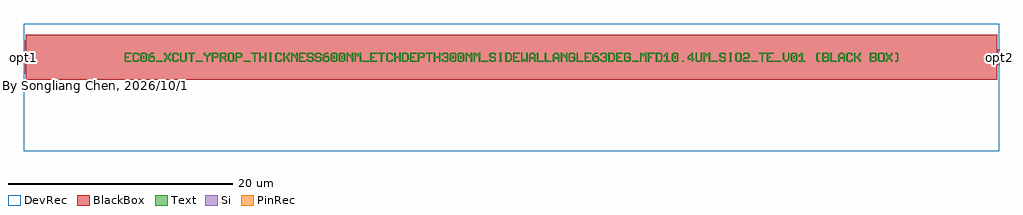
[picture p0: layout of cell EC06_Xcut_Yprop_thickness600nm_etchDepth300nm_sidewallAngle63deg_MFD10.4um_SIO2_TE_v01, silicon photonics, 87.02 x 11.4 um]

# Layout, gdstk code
import gdstk
lib = gdstk.Library(unit=1e-6, precision=1e-10)
def R(c, l, rs):  # rectangles x0, y0, x1, y1
    for r in rs: c.add(gdstk.rectangle(r[:2], r[2:], *l))
def A(c, l, x, y, w, h, nx, ny, dx, dy):  # array of equal rectangles
    R(c, l, [(x+i*dx, y+j*dy, x+i*dx+w, y+j*dy+h) for i in range(nx) for j in range(ny)])
def P(c, l, *ps):  # polygons
    for p in ps: c.add(gdstk.Polygon(p, *l))
Si = (1, 0)
PinRec = (1, 10)
Text = (10, 0)
DevRec = (68, 0)
BlackBox = (998, 0)

text = lib.new_cell('TEXT')
A(text, Text, 10.605, 0, 0.589, 0.118, 3, 1, 10.605, 0)
R(text, Text, [(2.828,0,3.417,0.118), (6.363,0,6.952,0.118), (45.248,0,45.837,0.118), (49.726,0,49.843,0.118), (52.318,0,52.907,0.118), (55.853,0,56.442,0.118), (57.974,0,58.563,0.118), (1.65,0.295,1.767,0.53), (18.618,0.295,18.735,0.53), (19.325,0.295,19.442,0.53), (29.223,0.295,29.34,0.53), (29.93,0.295,30.047,0.53), (49.019,0.295,49.136,0.53), (59.624,0.295,59.741,0.53)])
P(text, Text, [(33.936,0),(33.936,0.825),(34.348,0.825),(34.466,0.707),(34.054,0.707),(34.054,0.118),(34.289,0.118),(34.407,0.236),(34.407,0.589),(34.289,0.707),(34.466,0.707),(34.525,0.648),(34.525,0.177),(34.348,0)],
  [(34.643,0),(34.643,0.825),(35.232,0.825),(35.232,0.707),(34.761,0.707),(34.761,0.471),(34.996,0.471),(34.996,0.353),(34.761,0.353),(34.761,0.118),(35.232,0.118),(35.232,0)],
  [(35.35,0),(35.35,0.825),(35.468,0.825),(35.468,0.177),(35.527,0.177),(35.645,0.295),(35.762,0.177),(35.821,0.177),(35.821,0.825),(35.939,0.825),(35.939,0),(35.762,0),(35.645,0.118),(35.527,0)],
  [(36.057,0),(36.057,0.648),(36.234,0.825),(36.469,0.825),(36.587,0.707),(36.293,0.707),(36.175,0.589),(36.175,0.412),(36.528,0.412),(36.528,0.589),(36.41,0.707),(36.587,0.707),(36.646,0.648),(36.646,0),(36.528,0),(36.528,0.295),(36.175,0.295),(36.175,0)],
  [(36.764,0),(36.764,0.825),(36.882,0.825),(36.882,0.118),(37.353,0.118),(37.353,0)],
  [(37.471,0),(37.471,0.825),(37.589,0.825),(37.589,0.118),(38.06,0.118),(38.06,0)],
  [(38.178,0),(38.178,0.648),(38.355,0.825),(38.59,0.825),(38.708,0.707),(38.414,0.707),(38.296,0.589),(38.296,0.412),(38.649,0.412),(38.649,0.589),(38.531,0.707),(38.708,0.707),(38.767,0.648),(38.767,0),(38.649,0),(38.649,0.295),(38.296,0.295),(38.296,0)],
  [(38.885,0),(38.885,0.825),(39.003,0.825),(39.297,0.53),(39.356,0.53),(39.356,0.825),(39.474,0.825),(39.474,0),(39.356,0),(39.356,0.295),(39.062,0.589),(39.003,0.589),(39.003,0)],
  [(39.71,0),(39.592,0.118),(39.592,0.707),(39.71,0.825),(40.063,0.825),(40.181,0.707),(40.181,0.589),(40.063,0.589),(40.063,0.648),(40.004,0.707),(39.769,0.707),(39.71,0.648),(39.71,0.177),(39.769,0.118),(40.004,0.118),(40.063,0.177),(40.063,0.353),(39.887,0.353),(39.887,0.471),(40.181,0.471),(40.181,0.118),(40.063,0)],
  [(40.299,0),(40.299,0.825),(40.417,0.825),(40.417,0.118),(40.888,0.118),(40.888,0)],
  [(41.006,0),(41.006,0.825),(41.595,0.825),(41.595,0.707),(41.124,0.707),(41.124,0.471),(41.359,0.471),(41.359,0.353),(41.124,0.353),(41.124,0.118),(41.595,0.118),(41.595,0)],
  [(41.831,0),(41.713,0.118),(41.713,0.589),(41.949,0.825),(42.184,0.825),(42.184,0.707),(42.008,0.707),(41.89,0.589),(41.89,0.53),(42.184,0.53),(42.302,0.412),(41.89,0.412),(41.831,0.353),(41.831,0.177),(41.89,0.118),(42.125,0.118),(42.184,0.177),(42.184,0.353),(42.125,0.412),(42.302,0.412),(42.302,0.118),(42.184,0)],
  [(42.538,0),(42.42,0.118),(42.42,0.236),(42.538,0.236),(42.538,0.177),(42.597,0.118),(42.832,0.118),(42.891,0.177),(42.891,0.295),(42.832,0.353),(42.656,0.353),(42.656,0.471),(42.832,0.471),(42.891,0.53),(42.891,0.648),(42.832,0.707),(42.597,0.707),(42.538,0.648),(42.538,0.589),(42.42,0.589),(42.42,0.707),(42.538,0.825),(42.891,0.825),(43.009,0.707),(43.009,0.471),(42.95,0.412),(43.009,0.353),(43.009,0.118),(42.891,0)],
  [(43.127,0),(43.127,0.825),(43.539,0.825),(43.657,0.707),(43.245,0.707),(43.245,0.118),(43.48,0.118),(43.598,0.236),(43.598,0.589),(43.48,0.707),(43.657,0.707),(43.716,0.648),(43.716,0.177),(43.539,0)],
  [(43.834,0),(43.834,0.825),(44.423,0.825),(44.423,0.707),(43.952,0.707),(43.952,0.471),(44.187,0.471),(44.187,0.353),(43.952,0.353),(43.952,0.118),(44.423,0.118),(44.423,0)],
  [(44.659,0),(44.541,0.118),(44.541,0.707),(44.659,0.825),(45.012,0.825),(45.13,0.707),(45.13,0.589),(45.012,0.589),(45.012,0.648),(44.953,0.707),(44.718,0.707),(44.659,0.648),(44.659,0.177),(44.718,0.118),(44.953,0.118),(45.012,0.177),(45.012,0.353),(44.836,0.353),(44.836,0.471),(45.13,0.471),(45.13,0.118),(45.012,0)],
  [(45.955,0),(45.955,0.825),(46.073,0.825),(46.191,0.707),(46.308,0.707),(46.426,0.825),(46.544,0.825),(46.544,0),(46.426,0),(46.426,0.589),(46.367,0.589),(46.25,0.471),(46.132,0.589),(46.073,0.589),(46.073,0)],
  [(46.662,0),(46.662,0.825),(47.251,0.825),(47.251,0.707),(46.78,0.707),(46.78,0.471),(47.015,0.471),(47.015,0.353),(46.78,0.353),(46.78,0)],
  [(47.369,0),(47.369,0.825),(47.781,0.825),(47.899,0.707),(47.487,0.707),(47.487,0.118),(47.722,0.118),(47.84,0.236),(47.84,0.589),(47.722,0.707),(47.899,0.707),(47.958,0.648),(47.958,0.177),(47.781,0)],
  [(48.076,0),(48.076,0.118),(48.312,0.118),(48.312,0.589),(48.253,0.589),(48.135,0.471),(48.076,0.471),(48.076,0.589),(48.312,0.825),(48.429,0.825),(48.429,0.118),(48.665,0.118),(48.665,0)],
  [(48.901,0),(48.783,0.118),(48.783,0.707),(48.901,0.825),(49.254,0.825),(49.372,0.707),(48.96,0.707),(48.901,0.648),(48.901,0.177),(48.96,0.118),(49.195,0.118),(49.254,0.177),(49.254,0.648),(49.195,0.707),(49.372,0.707),(49.372,0.118),(49.254,0)],
  [(50.55,0),(50.55,0.177),(50.197,0.177),(50.197,0.295),(50.55,0.295),(50.55,0.589),(50.492,0.589),(50.315,0.412),(50.315,0.295),(50.197,0.295),(50.197,0.471),(50.55,0.825),(50.668,0.825),(50.668,0.295),(50.786,0.295),(50.786,0.177),(50.668,0.177),(50.668,0)],
  [(51.022,0),(50.904,0.118),(50.904,0.825),(51.022,0.825),(51.022,0.177),(51.081,0.118),(51.316,0.118),(51.375,0.177),(51.375,0.825),(51.493,0.825),(51.493,0.118),(51.375,0)],
  [(51.611,0),(51.611,0.825),(51.729,0.825),(51.847,0.707),(51.964,0.707),(52.082,0.825),(52.2,0.825),(52.2,0),(52.082,0),(52.082,0.589),(52.023,0.589),(51.906,0.471),(51.788,0.589),(51.729,0.589),(51.729,0)],
  [(53.143,0),(53.025,0.118),(53.025,0.236),(53.143,0.236),(53.143,0.177),(53.202,0.118),(53.437,0.118),(53.496,0.177),(53.496,0.295),(53.437,0.353),(53.143,0.353),(53.025,0.471),(53.025,0.707),(53.143,0.825),(53.496,0.825),(53.614,0.707),(53.614,0.589),(53.496,0.589),(53.496,0.648),(53.437,0.707),(53.202,0.707),(53.143,0.648),(53.143,0.53),(53.202,0.471),(53.496,0.471),(53.614,0.353),(53.614,0.118),(53.496,0)],
  [(53.909,0),(53.909,0.118),(53.968,0.118),(53.968,0.707),(53.909,0.707),(53.909,0.825),(54.144,0.825),(54.144,0.707),(54.085,0.707),(54.085,0.118),(54.144,0.118),(54.144,0)],
  [(54.557,0),(54.439,0.118),(54.439,0.707),(54.557,0.825),(54.91,0.825),(55.028,0.707),(55.028,0.412),(54.91,0.412),(54.91,0.648),(54.851,0.707),(54.616,0.707),(54.557,0.648),(54.557,0.177),(54.616,0.118),(54.851,0.118),(54.91,0.177),(54.91,0.412),(55.028,0.412),(55.028,0.118),(54.91,0)],
  [(55.146,0),(55.146,0.295),(55.264,0.412),(55.558,0.412),(55.617,0.471),(55.617,0.648),(55.558,0.707),(55.323,0.707),(55.264,0.648),(55.264,0.589),(55.146,0.589),(55.146,0.707),(55.264,0.825),(55.617,0.825),(55.735,0.707),(55.735,0.412),(55.617,0.295),(55.323,0.295),(55.264,0.236),(55.264,0.118),(55.735,0.118),(55.735,0)],
  [(56.796,0),(56.796,0.707),(56.56,0.707),(56.56,0.825),(57.149,0.825),(57.149,0.707),(56.913,0.707),(56.913,0)],
  [(57.267,0),(57.267,0.825),(57.856,0.825),(57.856,0.707),(57.385,0.707),(57.385,0.471),(57.62,0.471),(57.62,0.353),(57.385,0.353),(57.385,0.118),(57.856,0.118),(57.856,0)],
  [(58.917,0),(58.681,0.236),(58.681,0.825),(58.799,0.825),(58.799,0.295),(58.976,0.118),(59.152,0.295),(59.152,0.825),(59.27,0.825),(59.27,0.236),(59.034,0)],
  [(59.506,0),(59.388,0.118),(59.388,0.707),(59.506,0.825),(59.859,0.825),(59.977,0.707),(59.565,0.707),(59.506,0.648),(59.506,0.177),(59.565,0.118),(59.8,0.118),(59.859,0.177),(59.859,0.648),(59.8,0.707),(59.977,0.707),(59.977,0.118),(59.859,0)],
  [(60.095,0),(60.095,0.118),(60.331,0.118),(60.331,0.589),(60.272,0.589),(60.154,0.471),(60.095,0.471),(60.095,0.589),(60.331,0.825),(60.448,0.825),(60.448,0.118),(60.684,0.118),(60.684,0)],
  [(61.804,0),(61.686,0.118),(61.686,0.707),(61.804,0.825),(61.98,0.825),(61.98,0.707),(61.862,0.707),(61.804,0.648),(61.804,0.177),(61.862,0.118),(61.98,0.118),(61.98,0)],
  [(62.216,0),(62.216,0.825),(62.687,0.825),(62.805,0.707),(62.334,0.707),(62.334,0.471),(62.628,0.471),(62.687,0.53),(62.687,0.648),(62.628,0.707),(62.805,0.707),(62.805,0.471),(62.746,0.412),(62.805,0.353),(62.334,0.353),(62.334,0.118),(62.628,0.118),(62.687,0.177),(62.687,0.295),(62.628,0.353),(62.805,0.353),(62.805,0.118),(62.687,0)],
  [(62.923,0),(62.923,0.825),(63.041,0.825),(63.041,0.118),(63.512,0.118),(63.512,0)],
  [(63.63,0),(63.63,0.648),(63.807,0.825),(64.042,0.825),(64.16,0.707),(63.866,0.707),(63.748,0.589),(63.748,0.412),(64.101,0.412),(64.101,0.589),(63.983,0.707),(64.16,0.707),(64.219,0.648),(64.219,0),(64.101,0),(64.101,0.295),(63.748,0.295),(63.748,0)],
  [(64.455,0),(64.337,0.118),(64.337,0.707),(64.455,0.825),(64.808,0.825),(64.926,0.707),(64.926,0.589),(64.808,0.589),(64.808,0.648),(64.749,0.707),(64.514,0.707),(64.455,0.648),(64.455,0.177),(64.514,0.118),(64.749,0.118),(64.808,0.177),(64.808,0.236),(64.926,0.236),(64.926,0.118),(64.808,0)],
  [(65.044,0),(65.044,0.825),(65.162,0.825),(65.162,0.471),(65.28,0.471),(65.515,0.707),(65.515,0.825),(65.633,0.825),(65.633,0.648),(65.397,0.412),(65.633,0.177),(65.633,0),(65.515,0),(65.515,0.118),(65.28,0.353),(65.162,0.353),(65.162,0)],
  [(66.458,0),(66.458,0.825),(66.929,0.825),(67.047,0.707),(66.576,0.707),(66.576,0.471),(66.87,0.471),(66.929,0.53),(66.929,0.648),(66.87,0.707),(67.047,0.707),(67.047,0.471),(66.988,0.412),(67.047,0.353),(66.576,0.353),(66.576,0.118),(66.87,0.118),(66.929,0.177),(66.929,0.295),(66.87,0.353),(67.047,0.353),(67.047,0.118),(66.929,0)],
  [(67.283,0),(67.165,0.118),(67.165,0.707),(67.283,0.825),(67.636,0.825),(67.754,0.707),(67.754,0.412),(67.636,0.412),(67.636,0.648),(67.577,0.707),(67.342,0.707),(67.283,0.648),(67.283,0.177),(67.342,0.118),(67.577,0.118),(67.636,0.177),(67.636,0.412),(67.754,0.412),(67.754,0.118),(67.636,0)],
  [(67.872,0),(67.872,0.177),(68.049,0.353),(68.049,0.471),(67.872,0.648),(67.872,0.825),(67.99,0.825),(67.99,0.707),(68.167,0.53),(68.343,0.707),(68.343,0.825),(68.461,0.825),(68.461,0.648),(68.284,0.471),(68.284,0.353),(68.461,0.177),(68.461,0),(68.343,0),(68.343,0.118),(68.167,0.295),(67.99,0.118),(67.99,0)],
  [(68.697,0),(68.697,0.118),(68.815,0.118),(68.874,0.177),(68.874,0.648),(68.815,0.707),(68.697,0.707),(68.697,0.825),(68.874,0.825),(68.991,0.707),(68.991,0.118),(68.874,0)],
  [(32.64,0),(32.522,0.118),(32.522,0.236),(32.64,0.236),(32.64,0.177),(32.699,0.118),(32.934,0.118),(32.993,0.177),(32.993,0.295),(32.934,0.353),(32.64,0.353),(32.522,0.471),(32.522,0.707),(32.64,0.825),(32.993,0.825),(33.111,0.707),(33.111,0.589),(32.993,0.589),(32.993,0.648),(32.934,0.707),(32.699,0.707),(32.64,0.648),(32.64,0.53),(32.699,0.471),(32.993,0.471),(33.111,0.353),(33.111,0.118),(32.993,0)],
  [(33.406,0),(33.406,0.118),(33.465,0.118),(33.465,0.707),(33.406,0.707),(33.406,0.825),(33.641,0.825),(33.641,0.707),(33.582,0.707),(33.582,0.118),(33.641,0.118),(33.641,0)],
  [(0,0),(0,0.825),(0.589,0.825),(0.589,0.707),(0.118,0.707),(0.118,0.471),(0.353,0.471),(0.353,0.353),(0.118,0.353),(0.118,0.118),(0.589,0.118),(0.589,0)],
  [(0.825,0),(0.707,0.118),(0.707,0.707),(0.825,0.825),(1.178,0.825),(1.296,0.707),(1.296,0.589),(1.178,0.589),(1.178,0.648),(1.119,0.707),(0.884,0.707),(0.825,0.648),(0.825,0.177),(0.884,0.118),(1.119,0.118),(1.178,0.177),(1.178,0.236),(1.296,0.236),(1.296,0.118),(1.178,0)],
  [(1.532,0),(1.414,0.118),(1.414,0.707),(1.532,0.825),(1.885,0.825),(2.003,0.707),(1.591,0.707),(1.532,0.648),(1.532,0.177),(1.591,0.118),(1.826,0.118),(1.885,0.177),(1.885,0.648),(1.826,0.707),(2.003,0.707),(2.003,0.118),(1.885,0)],
  [(2.239,0),(2.121,0.118),(2.121,0.589),(2.357,0.825),(2.592,0.825),(2.592,0.707),(2.416,0.707),(2.298,0.589),(2.298,0.53),(2.592,0.53),(2.71,0.412),(2.298,0.412),(2.239,0.353),(2.239,0.177),(2.298,0.118),(2.533,0.118),(2.592,0.177),(2.592,0.353),(2.533,0.412),(2.71,0.412),(2.71,0.118),(2.592,0)],
  [(3.535,0),(3.535,0.177),(3.712,0.353),(3.712,0.471),(3.535,0.648),(3.535,0.825),(3.653,0.825),(3.653,0.707),(3.83,0.53),(4.006,0.707),(4.006,0.825),(4.124,0.825),(4.124,0.648),(3.947,0.471),(3.947,0.353),(4.124,0.177),(4.124,0),(4.006,0),(4.006,0.118),(3.83,0.295),(3.653,0.118),(3.653,0)],
  [(4.36,0),(4.242,0.118),(4.242,0.707),(4.36,0.825),(4.713,0.825),(4.831,0.707),(4.831,0.589),(4.713,0.589),(4.713,0.648),(4.654,0.707),(4.419,0.707),(4.36,0.648),(4.36,0.177),(4.419,0.118),(4.654,0.118),(4.713,0.177),(4.713,0.236),(4.831,0.236),(4.831,0.118),(4.713,0)],
  [(5.067,0),(4.949,0.118),(4.949,0.825),(5.067,0.825),(5.067,0.177),(5.126,0.118),(5.361,0.118),(5.42,0.177),(5.42,0.825),(5.538,0.825),(5.538,0.118),(5.42,0)],
  [(5.892,0),(5.892,0.707),(5.656,0.707),(5.656,0.825),(6.245,0.825),(6.245,0.707),(6.009,0.707),(6.009,0)],
  [(7.306,0),(7.306,0.412),(7.07,0.648),(7.07,0.825),(7.188,0.825),(7.188,0.707),(7.365,0.53),(7.541,0.707),(7.541,0.825),(7.659,0.825),(7.659,0.648),(7.423,0.412),(7.423,0)],
  [(7.777,0),(7.777,0.825),(8.248,0.825),(8.366,0.707),(8.366,0.471),(8.248,0.353),(7.895,0.353),(7.895,0.471),(8.189,0.471),(8.248,0.53),(8.248,0.648),(8.189,0.707),(7.895,0.707),(7.895,0)],
  [(8.484,0),(8.484,0.825),(8.955,0.825),(9.073,0.707),(8.602,0.707),(8.602,0.471),(8.896,0.471),(8.955,0.53),(8.955,0.648),(8.896,0.707),(9.073,0.707),(9.073,0.471),(8.955,0.353),(8.955,0.295),(9.073,0.177),(9.073,0),(8.955,0),(8.955,0.118),(8.72,0.353),(8.602,0.353),(8.602,0)],
  [(9.309,0),(9.191,0.118),(9.191,0.707),(9.309,0.825),(9.662,0.825),(9.78,0.707),(9.78,0.412),(9.662,0.412),(9.662,0.648),(9.603,0.707),(9.368,0.707),(9.309,0.648),(9.309,0.177),(9.368,0.118),(9.603,0.118),(9.662,0.177),(9.662,0.412),(9.78,0.412),(9.78,0.118),(9.662,0)],
  [(9.898,0),(9.898,0.825),(10.369,0.825),(10.487,0.707),(10.487,0.471),(10.369,0.353),(10.016,0.353),(10.016,0.471),(10.31,0.471),(10.369,0.53),(10.369,0.648),(10.31,0.707),(10.016,0.707),(10.016,0)],
  [(11.548,0),(11.548,0.707),(11.312,0.707),(11.312,0.825),(11.901,0.825),(11.901,0.707),(11.665,0.707),(11.665,0)],
  [(12.019,0),(12.019,0.825),(12.137,0.825),(12.137,0.471),(12.49,0.471),(12.49,0.825),(12.608,0.825),(12.608,0),(12.49,0),(12.49,0.353),(12.137,0.353),(12.137,0)],
  [(12.903,0),(12.903,0.118),(12.962,0.118),(12.962,0.707),(12.903,0.707),(12.903,0.825),(13.138,0.825),(13.138,0.707),(13.079,0.707),(13.079,0.118),(13.138,0.118),(13.138,0)],
  [(13.551,0),(13.433,0.118),(13.433,0.707),(13.551,0.825),(13.904,0.825),(14.022,0.707),(14.022,0.589),(13.904,0.589),(13.904,0.648),(13.845,0.707),(13.61,0.707),(13.551,0.648),(13.551,0.177),(13.61,0.118),(13.845,0.118),(13.904,0.177),(13.904,0.236),(14.022,0.236),(14.022,0.118),(13.904,0)],
  [(14.14,0),(14.14,0.825),(14.258,0.825),(14.258,0.471),(14.376,0.471),(14.611,0.707),(14.611,0.825),(14.729,0.825),(14.729,0.648),(14.493,0.412),(14.729,0.177),(14.729,0),(14.611,0),(14.611,0.118),(14.376,0.353),(14.258,0.353),(14.258,0)],
  [(14.847,0),(14.847,0.825),(14.965,0.825),(15.259,0.53),(15.318,0.53),(15.318,0.825),(15.436,0.825),(15.436,0),(15.318,0),(15.318,0.295),(15.024,0.589),(14.965,0.589),(14.965,0)],
  [(15.554,0),(15.554,0.825),(16.143,0.825),(16.143,0.707),(15.672,0.707),(15.672,0.471),(15.907,0.471),(15.907,0.353),(15.672,0.353),(15.672,0.118),(16.143,0.118),(16.143,0)],
  [(16.379,0),(16.261,0.118),(16.261,0.236),(16.379,0.236),(16.379,0.177),(16.438,0.118),(16.673,0.118),(16.732,0.177),(16.732,0.295),(16.673,0.353),(16.379,0.353),(16.261,0.471),(16.261,0.707),(16.379,0.825),(16.732,0.825),(16.85,0.707),(16.85,0.589),(16.732,0.589),(16.732,0.648),(16.673,0.707),(16.438,0.707),(16.379,0.648),(16.379,0.53),(16.438,0.471),(16.732,0.471),(16.85,0.353),(16.85,0.118),(16.732,0)],
  [(17.086,0),(16.968,0.118),(16.968,0.236),(17.086,0.236),(17.086,0.177),(17.145,0.118),(17.38,0.118),(17.439,0.177),(17.439,0.295),(17.38,0.353),(17.086,0.353),(16.968,0.471),(16.968,0.707),(17.086,0.825),(17.439,0.825),(17.557,0.707),(17.557,0.589),(17.439,0.589),(17.439,0.648),(17.38,0.707),(17.145,0.707),(17.086,0.648),(17.086,0.53),(17.145,0.471),(17.439,0.471),(17.557,0.353),(17.557,0.118),(17.439,0)],
  [(17.793,0),(17.675,0.118),(17.675,0.589),(17.911,0.825),(18.146,0.825),(18.146,0.707),(17.97,0.707),(17.852,0.589),(17.852,0.53),(18.146,0.53),(18.264,0.412),(17.852,0.412),(17.793,0.353),(17.793,0.177),(17.852,0.118),(18.087,0.118),(18.146,0.177),(18.146,0.353),(18.087,0.412),(18.264,0.412),(18.264,0.118),(18.146,0)],
  [(18.5,0),(18.382,0.118),(18.382,0.707),(18.5,0.825),(18.853,0.825),(18.971,0.707),(18.559,0.707),(18.5,0.648),(18.5,0.177),(18.559,0.118),(18.794,0.118),(18.853,0.177),(18.853,0.648),(18.794,0.707),(18.971,0.707),(18.971,0.118),(18.853,0)],
  [(19.207,0),(19.089,0.118),(19.089,0.707),(19.207,0.825),(19.56,0.825),(19.678,0.707),(19.266,0.707),(19.207,0.648),(19.207,0.177),(19.266,0.118),(19.501,0.118),(19.56,0.177),(19.56,0.648),(19.501,0.707),(19.678,0.707),(19.678,0.118),(19.56,0)],
  [(19.796,0),(19.796,0.825),(19.914,0.825),(20.208,0.53),(20.267,0.53),(20.267,0.825),(20.385,0.825),(20.385,0),(20.267,0),(20.267,0.295),(19.973,0.589),(19.914,0.589),(19.914,0)],
  [(20.503,0),(20.503,0.825),(20.621,0.825),(20.739,0.707),(20.856,0.707),(20.974,0.825),(21.092,0.825),(21.092,0),(20.974,0),(20.974,0.589),(20.915,0.589),(20.798,0.471),(20.68,0.589),(20.621,0.589),(20.621,0)],
  [(21.917,0),(21.917,0.825),(22.506,0.825),(22.506,0.707),(22.035,0.707),(22.035,0.471),(22.27,0.471),(22.27,0.353),(22.035,0.353),(22.035,0.118),(22.506,0.118),(22.506,0)],
  [(22.86,0),(22.86,0.707),(22.624,0.707),(22.624,0.825),(23.213,0.825),(23.213,0.707),(22.977,0.707),(22.977,0)],
  [(23.449,0),(23.331,0.118),(23.331,0.707),(23.449,0.825),(23.802,0.825),(23.92,0.707),(23.92,0.589),(23.802,0.589),(23.802,0.648),(23.743,0.707),(23.508,0.707),(23.449,0.648),(23.449,0.177),(23.508,0.118),(23.743,0.118),(23.802,0.177),(23.802,0.236),(23.92,0.236),(23.92,0.118),(23.802,0)],
  [(24.038,0),(24.038,0.825),(24.156,0.825),(24.156,0.471),(24.509,0.471),(24.509,0.825),(24.627,0.825),(24.627,0),(24.509,0),(24.509,0.353),(24.156,0.353),(24.156,0)],
  [(24.745,0),(24.745,0.825),(25.157,0.825),(25.275,0.707),(24.863,0.707),(24.863,0.118),(25.098,0.118),(25.216,0.236),(25.216,0.589),(25.098,0.707),(25.275,0.707),(25.334,0.648),(25.334,0.177),(25.157,0)],
  [(25.452,0),(25.452,0.825),(26.041,0.825),(26.041,0.707),(25.57,0.707),(25.57,0.471),(25.805,0.471),(25.805,0.353),(25.57,0.353),(25.57,0.118),(26.041,0.118),(26.041,0)],
  [(26.159,0),(26.159,0.825),(26.63,0.825),(26.748,0.707),(26.748,0.471),(26.63,0.353),(26.277,0.353),(26.277,0.471),(26.571,0.471),(26.63,0.53),(26.63,0.648),(26.571,0.707),(26.277,0.707),(26.277,0)],
  [(27.102,0),(27.102,0.707),(26.866,0.707),(26.866,0.825),(27.455,0.825),(27.455,0.707),(27.219,0.707),(27.219,0)],
  [(27.573,0),(27.573,0.825),(27.691,0.825),(27.691,0.471),(28.044,0.471),(28.044,0.825),(28.162,0.825),(28.162,0),(28.044,0),(28.044,0.353),(27.691,0.353),(27.691,0)],
  [(28.398,0),(28.28,0.118),(28.28,0.236),(28.398,0.236),(28.398,0.177),(28.457,0.118),(28.692,0.118),(28.751,0.177),(28.751,0.295),(28.692,0.353),(28.516,0.353),(28.516,0.471),(28.692,0.471),(28.751,0.53),(28.751,0.648),(28.692,0.707),(28.457,0.707),(28.398,0.648),(28.398,0.589),(28.28,0.589),(28.28,0.707),(28.398,0.825),(28.751,0.825),(28.869,0.707),(28.869,0.471),(28.81,0.412),(28.869,0.353),(28.869,0.118),(28.751,0)],
  [(29.105,0),(28.987,0.118),(28.987,0.707),(29.105,0.825),(29.458,0.825),(29.576,0.707),(29.164,0.707),(29.105,0.648),(29.105,0.177),(29.164,0.118),(29.399,0.118),(29.458,0.177),(29.458,0.648),(29.399,0.707),(29.576,0.707),(29.576,0.118),(29.458,0)],
  [(29.812,0),(29.694,0.118),(29.694,0.707),(29.812,0.825),(30.165,0.825),(30.283,0.707),(29.871,0.707),(29.812,0.648),(29.812,0.177),(29.871,0.118),(30.106,0.118),(30.165,0.177),(30.165,0.648),(30.106,0.707),(30.283,0.707),(30.283,0.118),(30.165,0)],
  [(30.401,0),(30.401,0.825),(30.519,0.825),(30.813,0.53),(30.872,0.53),(30.872,0.825),(30.99,0.825),(30.99,0),(30.872,0),(30.872,0.295),(30.578,0.589),(30.519,0.589),(30.519,0)],
  [(31.108,0),(31.108,0.825),(31.226,0.825),(31.344,0.707),(31.461,0.707),(31.579,0.825),(31.697,0.825),(31.697,0),(31.579,0),(31.579,0.589),(31.52,0.589),(31.403,0.471),(31.285,0.589),(31.226,0.589),(31.226,0)])

ec06_xcut_yprop_thicknes = lib.new_cell('EC06_Xcut_Yprop_thickness600nm_etchDepth300nm_sidewallAngle63deg_MFD10.4um_SIO2_TE_v01')
R(ec06_xcut_yprop_thicknes, Si, [(-43.5,-1.4562,-43.3,1.4562), (43.3,-0.7,43.5,0.7)])
R(ec06_xcut_yprop_thicknes, DevRec, [(-43.5,-8.398,43.5,2.998)])
R(ec06_xcut_yprop_thicknes, BlackBox, [(-43.3,-1.998,43.3,1.998)])
ec06_xcut_yprop_thicknes.add(gdstk.FlexPath([(-43.49,0),(-43.51,0)], 2.9124, ends="flush", simple_path=True, layer=1, datatype=10))  # PinRec
ec06_xcut_yprop_thicknes.add(gdstk.FlexPath([(43.49,0),(43.51,0)], 1.4, ends="flush", simple_path=True, layer=1, datatype=10))  # PinRec
ec06_xcut_yprop_thicknes.add(gdstk.Reference(text, (-34.4955,-0.4125)))
ec06_xcut_yprop_thicknes.add(gdstk.Label('opt1', (-43.5,0), layer=1, texttype=10))
ec06_xcut_yprop_thicknes.add(gdstk.Label('opt2', (43.5,0), layer=1, texttype=10))
ec06_xcut_yprop_thicknes.add(gdstk.Label('By Songliang Chen, 2026/10/13', (-43,-2.498), layer=10, texttype=0))

lib.write_gds('EC06_Xcut_Yprop_thickness600nm_etchDepth300nm_sidewallAngle63deg_MFD10.4um_SIO2_TE_v01.gds')
